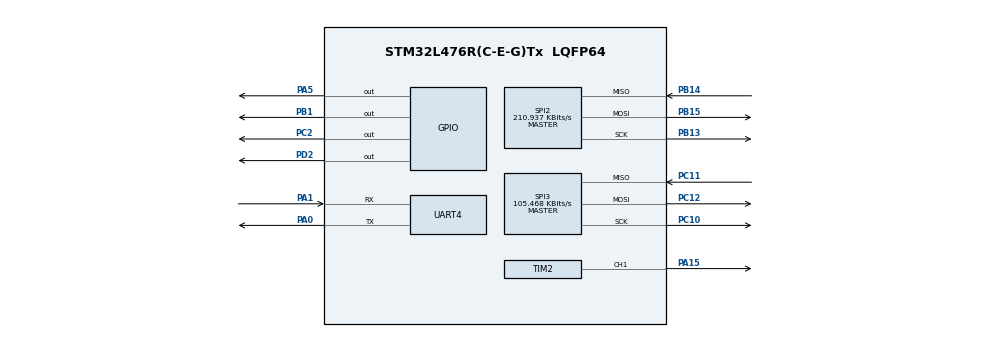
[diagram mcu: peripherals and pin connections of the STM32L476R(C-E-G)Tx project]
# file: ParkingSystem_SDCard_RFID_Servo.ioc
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Mcu.Family=STM32L4
Mcu.Name=STM32L476R(C-E-G)Tx
Mcu.Package=LQFP64
NVIC.PriorityGroup=NVIC_PRIORITYGROUP_4
NVIC.TIM2_IRQn=true\:0\:0\:false\:false\:true\:true\:true\:true
PA0.Mode=Asynchronous
PA0.Signal=UART4_TX
PA1.Mode=Asynchronous
PA1.Signal=UART4_RX
PA15\ (JTDI).Signal=S_TIM2_CH1
PA5.GPIO_ModeDefaultOutputPP=GPIO_MODE_OUTPUT_PP
PA5.GPIO_PuPd=GPIO_NOPULL
PA5.GPIO_Speed=GPIO_SPEED_FREQ_VERY_HIGH
PA5.Signal=GPIO_Output
PB1.GPIO_Speed=GPIO_SPEED_FREQ_VERY_HIGH
PB1.PinState=GPIO_PIN_SET
PB1.Signal=GPIO_Output
PB13.Mode=Full_Duplex_Master
PB13.Signal=SPI2_SCK
PB14.Mode=Full_Duplex_Master
PB14.Signal=SPI2_MISO
PB15.Mode=Full_Duplex_Master
PB15.Signal=SPI2_MOSI
PC10.Mode=Full_Duplex_Master
PC10.Signal=SPI3_SCK
PC11.Mode=Full_Duplex_Master
PC11.Signal=SPI3_MISO
PC12.Mode=Full_Duplex_Master
PC12.Signal=SPI3_MOSI
PC14-OSC32_IN\ (PC14).Mode=LSE-External-Oscillator
PC14-OSC32_IN\ (PC14).Signal=RCC_OSC32_IN
PC15-OSC32_OUT\ (PC15).Mode=LSE-External-Oscillator
PC15-OSC32_OUT\ (PC15).Signal=RCC_OSC32_OUT
PC2.GPIO_Speed=GPIO_SPEED_FREQ_VERY_HIGH
PC2.Signal=GPIO_Output
PD2.GPIO_Speed=GPIO_SPEED_FREQ_VERY_HIGH
PD2.PinState=GPIO_PIN_SET
PD2.Signal=GPIO_Output
PH0-OSC_IN\ (PH0).Signal=RCC_OSC_IN
PH1-OSC_OUT\ (PH1).Signal=RCC_OSC_OUT
ProjectManager.HeapSize=0x200
ProjectManager.StackSize=0x400
ProjectManager.TargetToolchain=MDK-ARM V5.32
RCC.ADCFreq_Value=16000000
RCC.AHBCLKDivider=RCC_SYSCLK_DIV2
RCC.AHBFreq_Value=27000000
RCC.APB1Freq_Value=27000000
RCC.APB1TimFreq_Value=27000000
RCC.APB2Freq_Value=27000000
RCC.APB2TimFreq_Value=27000000
RCC.CortexFreq_Value=27000000
RCC.HCLKFreq_Value=27000000
RCC.HSE_VALUE=8000000
RCC.HSI_VALUE=16000000
RCC.MSI_VALUE=4000000
RCC.PLLN=27
RCC.PREFETCH_ENABLE=1
RCC.SYSCLKFreq_VALUE=54000000
RCC.SYSCLKSource=RCC_SYSCLKSOURCE_PLLCLK
RCC.USBFreq_Value=16000000
RCC.VCOOutputFreq_Value=108000000
SH.S_TIM2_CH1.0=TIM2_CH1,PWM Generation1 CH1
SPI2.BaudRatePrescaler=SPI_BAUDRATEPRESCALER_128
SPI2.CalculateBaudRate=210.937 KBits/s
SPI2.DataSize=SPI_DATASIZE_8BIT
SPI2.Direction=SPI_DIRECTION_2LINES
SPI2.Mode=SPI_MODE_MASTER
SPI2.VirtualType=VM_MASTER
SPI3.BaudRatePrescaler=SPI_BAUDRATEPRESCALER_256
SPI3.CalculateBaudRate=105.468 KBits/s
SPI3.DataSize=SPI_DATASIZE_8BIT
SPI3.Direction=SPI_DIRECTION_2LINES
SPI3.Mode=SPI_MODE_MASTER
SPI3.VirtualType=VM_MASTER
TIM1.Prescaler=26
TIM2.Channel-PWM\ Generation1\ CH1=TIM_CHANNEL_1
TIM2.Period=9999
TIM2.Prescaler=26
TIM2.Pulse-PWM\ Generation1\ CH1=500
VP_FATFS_VS_Generic.Mode=User_defined
VP_TIM1_VS_ClockSourceINT.Mode=Internal
board=NUCLEO-L476RG

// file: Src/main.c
/* USER CODE BEGIN Header */
/**
  ******************************************************************************
  * @file           : main.c
  * @brief          : Main program body
  ******************************************************************************
  * @attention
  *
  * Copyright (c) 2024 STMicroelectronics.
  * All rights reserved.
  *
  * This software is licensed under terms that can be found in the LICENSE file
  * in the root directory of this software component.
  * If no LICENSE file comes with this software, it is provided AS-IS.
  *
  ******************************************************************************
  */
/* USER CODE END Header */
#include "main.h"
#include "fatfs.h"

/* USER CODE BEGIN Includes */
#include <stdbool.h>
#include <stdio.h>
#include <string.h>
#include <stdarg.h>
#include "rc522.h"
/* USER CODE END Includes */

/* USER CODE BEGIN PV */
uint8_t status;
uint8_t str[MAX_LEN]; // Max_LEN = 16
uint8_t sNum[5];
/* USER CODE END PV */

void SystemClock_Config(void);
static void MX_GPIO_Init(void);
static void MX_SPI2_Init(void);
static void MX_SPI3_Init(void);
static void MX_TIM1_Init(void);
static void MX_TIM2_Init(void);
static void MX_UART4_Init(void);
/* USER CODE BEGIN PFP */
void read_sdCard(void);
/* USER CODE END PFP */

/* USER CODE BEGIN 0 */
typedef struct Node {
    uint8_t UID[32];
    char bsx[32];
    struct Node* next;
} Node;

// Head of the linked list
Node* head = NULL;

// Function to create a new node and add it to the linked list
void addNode(const uint8_t* UID, const char* bsx) {
    if (UID == NULL || bsx == NULL) {
        myprintf("Invalid input: UID or bsx is NULL\r\n");
        return;
    }

		Node* newNode = (Node*)malloc(sizeof(Node));
    if (newNode == NULL) {
        myprintf("Memory allocation failed!\r\n");
        return;
    }

		memcpy(newNode->UID, UID, 5); // Copy exactly 5 bytes
    //newNode->UID[5] = '\0';       // Ensure null termination for safe printing
    strncpy(newNode->bsx, bsx, sizeof(newNode->bsx) - 1);
    newNode->bsx[sizeof(newNode->bsx) - 1] = '\0';

    newNode->next = head;
    head = newNode;
}

/*
void freeList() {
    Node* current = head;
    while (current != NULL) {
        Node* temp = current;
        current = current->next;
        free(temp);
    }
    head = NULL;
    myprintf("Linked list freed.\r\n");
}
*/
bool searchLinkedList(const uint8_t* UID, char* bsx) {
    Node* cur = head;
    while (cur != NULL) {
        if (memcmp(cur->UID, UID, 5) == 0) { // Compare exactly 5 bytes
            strcpy(bsx, cur->bsx);          // Copy the corresponding BSX
            return true;
        }
        cur = cur->next;
    }
    return false;
}

FATFS FatFs; 	//Fatfs handle
FIL fil; 		//File handle
FRESULT fres; //Result after operations

DWORD free_clusters, free_sectors, total_sectors;
FATFS* getFreeFs;

char lineBuffer[128];
/* USER CODE END 0 */

int main(void)
{

  /* MCU Configuration--------------------------------------------------------*/

  /* Reset of all peripherals, Initializes the Flash interface and the Systick. */
  HAL_Init();

  /* USER CODE BEGIN Init */
	//freeList();
  /* USER CODE END Init */

  /* Configure the system clock */
  SystemClock_Config();

  /* Initialize all configured peripherals */
  MX_GPIO_Init();
  MX_SPI2_Init();
  MX_SPI3_Init();
  MX_TIM1_Init();
  MX_TIM2_Init();
  MX_UART4_Init();
  MX_FATFS_Init();
  /* USER CODE BEGIN 2 */
	MFRC522_Init();
	read_sdCard();
	LL_TIM_EnableCounter(TIM2);
  LL_TIM_EnableIT_UPDATE(TIM2);
  /* USER CODE END 2 */

  /* Infinite loop */
  while (1)
  {
		delay_ms(1000);
		status = MFRC522_Request(PICC_REQIDL, str);
		if (status != MI_OK)
		{
			continue;
		}
		delay_ms(1);
		status = MFRC522_Anticoll(str);
		if (status != MI_OK)
		{
			continue;
		}
		delay_ms(1);

		memcpy(sNum, str, 5);
		myprintf("SerialNumber: ");
		for (int i = 0; i < 5; i++)
		{
			myprintf("%d ", sNum[i]); // UID
		}
		myprintf("\n");
		char bsx[32] = {0};
		if (searchLinkedList(sNum, bsx) == true)
		{
			myprintf("Found BSX: %s\n", bsx);
			flag_servo = 1;
			myprintf("Opening barier\n");
		}
		else
		{
			myprintf("UID not found in linked list.\n");
		}
		delay_ms(5000);
		myprintf("Closing barier\n");
  }
}

void SystemClock_Config(void)
{
  LL_FLASH_SetLatency(LL_FLASH_LATENCY_1);
  while(LL_FLASH_GetLatency()!= LL_FLASH_LATENCY_1)
  {
  }
  LL_PWR_SetRegulVoltageScaling(LL_PWR_REGU_VOLTAGE_SCALE1);
  while (LL_PWR_IsActiveFlag_VOS() != 0)
  {
  }
  LL_RCC_MSI_Enable();

   /* Wait till MSI is ready */
  while(LL_RCC_MSI_IsReady() != 1)
  {

  }
  LL_RCC_MSI_EnableRangeSelection();
  LL_RCC_MSI_SetRange(LL_RCC_MSIRANGE_6);
  LL_RCC_MSI_SetCalibTrimming(0);
  LL_PWR_EnableBkUpAccess();
  LL_RCC_LSE_SetDriveCapability(LL_RCC_LSEDRIVE_LOW);
  LL_RCC_LSE_Enable();

   /* Wait till LSE is ready */
  while(LL_RCC_LSE_IsReady() != 1)
  {

  }
  LL_RCC_MSI_EnablePLLMode();
  LL_RCC_PLL_ConfigDomain_SYS(LL_RCC_PLLSOURCE_MSI, LL_RCC_PLLM_DIV_1, 27, LL_RCC_PLLR_DIV_2);
  LL_RCC_PLL_EnableDomain_SYS();
  LL_RCC_PLL_Enable();

   /* Wait till PLL is ready */
  while(LL_RCC_PLL_IsReady() != 1)
  {

  }
  LL_RCC_SetSysClkSource(LL_RCC_SYS_CLKSOURCE_PLL);

   /* Wait till System clock is ready */
  while(LL_RCC_GetSysClkSource() != LL_RCC_SYS_CLKSOURCE_STATUS_PLL)
  {

  }
  LL_RCC_SetAHBPrescaler(LL_RCC_SYSCLK_DIV_2);
  LL_RCC_SetAPB1Prescaler(LL_RCC_APB1_DIV_1);
  LL_RCC_SetAPB2Prescaler(LL_RCC_APB2_DIV_1);
  LL_SetSystemCoreClock(27000000);

   /* Update the time base */
  if (HAL_InitTick (TICK_INT_PRIORITY) != HAL_OK)
  {
    Error_Handler();
  }
}

static void MX_SPI2_Init(void)
{

  LL_SPI_InitTypeDef SPI_InitStruct = {0};

  LL_GPIO_InitTypeDef GPIO_InitStruct = {0};

  /* Peripheral clock enable */
  LL_APB1_GRP1_EnableClock(LL_APB1_GRP1_PERIPH_SPI2);

  LL_AHB2_GRP1_EnableClock(LL_AHB2_GRP1_PERIPH_GPIOB);
  /**SPI2 GPIO Configuration
  PB13   ------> SPI2_SCK
  PB14   ------> SPI2_MISO
  PB15   ------> SPI2_MOSI
  */
  GPIO_InitStruct.Pin = LL_GPIO_PIN_13|LL_GPIO_PIN_14|LL_GPIO_PIN_15;
  GPIO_InitStruct.Mode = LL_GPIO_MODE_ALTERNATE;
  GPIO_InitStruct.Speed = LL_GPIO_SPEED_FREQ_VERY_HIGH;
  GPIO_InitStruct.OutputType = LL_GPIO_OUTPUT_PUSHPULL;
  GPIO_InitStruct.Pull = LL_GPIO_PULL_NO;
  GPIO_InitStruct.Alternate = LL_GPIO_AF_5;
  LL_GPIO_Init(GPIOB, &GPIO_InitStruct);

  /* SPI2 parameter configuration*/
  SPI_InitStruct.TransferDirection = LL_SPI_FULL_DUPLEX;
  SPI_InitStruct.Mode = LL_SPI_MODE_MASTER;
  SPI_InitStruct.DataWidth = LL_SPI_DATAWIDTH_8BIT;
  SPI_InitStruct.ClockPolarity = LL_SPI_POLARITY_LOW;
  SPI_InitStruct.ClockPhase = LL_SPI_PHASE_1EDGE;
  SPI_InitStruct.NSS = LL_SPI_NSS_SOFT;
  SPI_InitStruct.BaudRate = LL_SPI_BAUDRATEPRESCALER_DIV128;
  SPI_InitStruct.BitOrder = LL_SPI_MSB_FIRST;
  SPI_InitStruct.CRCCalculation = LL_SPI_CRCCALCULATION_DISABLE;
  SPI_InitStruct.CRCPoly = 7;
  LL_SPI_Init(SPI2, &SPI_InitStruct);
  LL_SPI_SetStandard(SPI2, LL_SPI_PROTOCOL_MOTOROLA);
  LL_SPI_EnableNSSPulseMgt(SPI2);
  /* USER CODE BEGIN SPI2_Init 2 */
	LL_SPI_Enable(SPI2);
  /* USER CODE END SPI2_Init 2 */

}

static void MX_SPI3_Init(void)
{

  LL_SPI_InitTypeDef SPI_InitStruct = {0};

  LL_GPIO_InitTypeDef GPIO_InitStruct = {0};

  /* Peripheral clock enable */
  LL_APB1_GRP1_EnableClock(LL_APB1_GRP1_PERIPH_SPI3);

  LL_AHB2_GRP1_EnableClock(LL_AHB2_GRP1_PERIPH_GPIOC);
  /**SPI3 GPIO Configuration
  PC10   ------> SPI3_SCK
  PC11   ------> SPI3_MISO
  PC12   ------> SPI3_MOSI
  */
  GPIO_InitStruct.Pin = LL_GPIO_PIN_10|LL_GPIO_PIN_11|LL_GPIO_PIN_12;
  GPIO_InitStruct.Mode = LL_GPIO_MODE_ALTERNATE;
  GPIO_InitStruct.Speed = LL_GPIO_SPEED_FREQ_VERY_HIGH;
  GPIO_InitStruct.OutputType = LL_GPIO_OUTPUT_PUSHPULL;
  GPIO_InitStruct.Pull = LL_GPIO_PULL_NO;
  GPIO_InitStruct.Alternate = LL_GPIO_AF_6;
  LL_GPIO_Init(GPIOC, &GPIO_InitStruct);

  /* SPI3 parameter configuration*/
  SPI_InitStruct.TransferDirection = LL_SPI_FULL_DUPLEX;
  SPI_InitStruct.Mode = LL_SPI_MODE_MASTER;
  SPI_InitStruct.DataWidth = LL_SPI_DATAWIDTH_8BIT;
  SPI_InitStruct.ClockPolarity = LL_SPI_POLARITY_LOW;
  SPI_InitStruct.ClockPhase = LL_SPI_PHASE_1EDGE;
  SPI_InitStruct.NSS = LL_SPI_NSS_SOFT;
  SPI_InitStruct.BaudRate = LL_SPI_BAUDRATEPRESCALER_DIV256;
  SPI_InitStruct.BitOrder = LL_SPI_MSB_FIRST;
  SPI_InitStruct.CRCCalculation = LL_SPI_CRCCALCULATION_DISABLE;
  SPI_InitStruct.CRCPoly = 7;
  LL_SPI_Init(SPI3, &SPI_InitStruct);
  LL_SPI_SetStandard(SPI3, LL_SPI_PROTOCOL_MOTOROLA);
  LL_SPI_EnableNSSPulseMgt(SPI3);
  /* USER CODE BEGIN SPI3_Init 2 */
	LL_SPI_Enable(SPI3);
  /* USER CODE END SPI3_Init 2 */

}

static void MX_TIM1_Init(void)
{

  LL_TIM_InitTypeDef TIM_InitStruct = {0};

  /* Peripheral clock enable */
  LL_APB2_GRP1_EnableClock(LL_APB2_GRP1_PERIPH_TIM1);

  TIM_InitStruct.Prescaler = 26;
  TIM_InitStruct.CounterMode = LL_TIM_COUNTERMODE_UP;
  TIM_InitStruct.Autoreload = 65535;
  TIM_InitStruct.ClockDivision = LL_TIM_CLOCKDIVISION_DIV1;
  TIM_InitStruct.RepetitionCounter = 0;
  LL_TIM_Init(TIM1, &TIM_InitStruct);
  LL_TIM_DisableARRPreload(TIM1);
  LL_TIM_SetClockSource(TIM1, LL_TIM_CLOCKSOURCE_INTERNAL);
  LL_TIM_SetTriggerOutput(TIM1, LL_TIM_TRGO_RESET);
  LL_TIM_SetTriggerOutput2(TIM1, LL_TIM_TRGO2_RESET);
  LL_TIM_DisableMasterSlaveMode(TIM1);
  /* USER CODE BEGIN TIM1_Init 2 */
	LL_TIM_EnableCounter(TIM1);
  /* USER CODE END TIM1_Init 2 */

}

static void MX_TIM2_Init(void)
{

  LL_TIM_InitTypeDef TIM_InitStruct = {0};
  LL_TIM_OC_InitTypeDef TIM_OC_InitStruct = {0};

  LL_GPIO_InitTypeDef GPIO_InitStruct = {0};

  /* Peripheral clock enable */
  LL_APB1_GRP1_EnableClock(LL_APB1_GRP1_PERIPH_TIM2);

  /* TIM2 interrupt Init */
  NVIC_SetPriority(TIM2_IRQn, NVIC_EncodePriority(NVIC_GetPriorityGrouping(),0, 0));
  NVIC_EnableIRQ(TIM2_IRQn);

  TIM_InitStruct.Prescaler = 26;
  TIM_InitStruct.CounterMode = LL_TIM_COUNTERMODE_UP;
  TIM_InitStruct.Autoreload = 9999;
  TIM_InitStruct.ClockDivision = LL_TIM_CLOCKDIVISION_DIV1;
  LL_TIM_Init(TIM2, &TIM_InitStruct);
  LL_TIM_DisableARRPreload(TIM2);
  LL_TIM_OC_EnablePreload(TIM2, LL_TIM_CHANNEL_CH1);
  TIM_OC_InitStruct.OCMode = LL_TIM_OCMODE_PWM1;
  TIM_OC_InitStruct.OCState = LL_TIM_OCSTATE_DISABLE;
  TIM_OC_InitStruct.OCNState = LL_TIM_OCSTATE_DISABLE;
  TIM_OC_InitStruct.CompareValue = 500;
  TIM_OC_InitStruct.OCPolarity = LL_TIM_OCPOLARITY_HIGH;
  LL_TIM_OC_Init(TIM2, LL_TIM_CHANNEL_CH1, &TIM_OC_InitStruct);
  LL_TIM_OC_DisableFast(TIM2, LL_TIM_CHANNEL_CH1);
  LL_TIM_SetOCRefClearInputSource(TIM2, LL_TIM_OCREF_CLR_INT_NC);
  LL_TIM_DisableExternalClock(TIM2);
  LL_TIM_ConfigETR(TIM2, LL_TIM_ETR_POLARITY_NONINVERTED, LL_TIM_ETR_PRESCALER_DIV1, LL_TIM_ETR_FILTER_FDIV1);
  LL_TIM_SetTriggerOutput(TIM2, LL_TIM_TRGO_RESET);
  LL_TIM_DisableMasterSlaveMode(TIM2);
  /* USER CODE BEGIN TIM2_Init 2 */
	LL_TIM_EnableCounter(TIM2);
  LL_TIM_CC_EnableChannel(TIM2, LL_TIM_CHANNEL_CH1);
  LL_TIM_GenerateEvent_UPDATE(TIM2);
  /* USER CODE END TIM2_Init 2 */
  LL_AHB2_GRP1_EnableClock(LL_AHB2_GRP1_PERIPH_GPIOA);
  /**TIM2 GPIO Configuration
  PA15 (JTDI)   ------> TIM2_CH1
  */
  GPIO_InitStruct.Pin = LL_GPIO_PIN_15;
  GPIO_InitStruct.Mode = LL_GPIO_MODE_ALTERNATE;
  GPIO_InitStruct.Speed = LL_GPIO_SPEED_FREQ_LOW;
  GPIO_InitStruct.OutputType = LL_GPIO_OUTPUT_PUSHPULL;
  GPIO_InitStruct.Pull = LL_GPIO_PULL_NO;
  GPIO_InitStruct.Alternate = LL_GPIO_AF_1;
  LL_GPIO_Init(GPIOA, &GPIO_InitStruct);

}

static void MX_UART4_Init(void)
{

  LL_USART_InitTypeDef UART_InitStruct = {0};

  LL_GPIO_InitTypeDef GPIO_InitStruct = {0};

  LL_RCC_SetUARTClockSource(LL_RCC_UART4_CLKSOURCE_PCLK1);

  /* Peripheral clock enable */
  LL_APB1_GRP1_EnableClock(LL_APB1_GRP1_PERIPH_UART4);

  LL_AHB2_GRP1_EnableClock(LL_AHB2_GRP1_PERIPH_GPIOA);
  /**UART4 GPIO Configuration
  PA0   ------> UART4_TX
  PA1   ------> UART4_RX
  */
  GPIO_InitStruct.Pin = LL_GPIO_PIN_0|LL_GPIO_PIN_1;
  GPIO_InitStruct.Mode = LL_GPIO_MODE_ALTERNATE;
  GPIO_InitStruct.Speed = LL_GPIO_SPEED_FREQ_VERY_HIGH;
  GPIO_InitStruct.OutputType = LL_GPIO_OUTPUT_PUSHPULL;
  GPIO_InitStruct.Pull = LL_GPIO_PULL_NO;
  GPIO_InitStruct.Alternate = LL_GPIO_AF_8;
  LL_GPIO_Init(GPIOA, &GPIO_InitStruct);

  UART_InitStruct.BaudRate = 115200;
  UART_InitStruct.DataWidth = LL_USART_DATAWIDTH_8B;
  UART_InitStruct.StopBits = LL_USART_STOPBITS_1;
  UART_InitStruct.Parity = LL_USART_PARITY_NONE;
  UART_InitStruct.TransferDirection = LL_USART_DIRECTION_TX_RX;
  UART_InitStruct.HardwareFlowControl = LL_USART_HWCONTROL_NONE;
  UART_InitStruct.OverSampling = LL_USART_OVERSAMPLING_16;
  LL_USART_Init(UART4, &UART_InitStruct);
  LL_USART_ConfigAsyncMode(UART4);
  LL_USART_Enable(UART4);

}

static void MX_GPIO_Init(void)
{
  LL_GPIO_InitTypeDef GPIO_InitStruct = {0};

  /* GPIO Ports Clock Enable */
  LL_AHB2_GRP1_EnableClock(LL_AHB2_GRP1_PERIPH_GPIOC);
  LL_AHB2_GRP1_EnableClock(LL_AHB2_GRP1_PERIPH_GPIOH);
  LL_AHB2_GRP1_EnableClock(LL_AHB2_GRP1_PERIPH_GPIOA);
  LL_AHB2_GRP1_EnableClock(LL_AHB2_GRP1_PERIPH_GPIOB);
  LL_AHB2_GRP1_EnableClock(LL_AHB2_GRP1_PERIPH_GPIOD);

  /**/
  LL_GPIO_ResetOutputPin(GPIOC, LL_GPIO_PIN_2);

  /**/
  LL_GPIO_ResetOutputPin(GPIOA, LL_GPIO_PIN_5);

  /**/
  LL_GPIO_SetOutputPin(GPIOB, LL_GPIO_PIN_1);

  /**/
  LL_GPIO_SetOutputPin(GPIOD, LL_GPIO_PIN_2);

  /**/
  GPIO_InitStruct.Pin = LL_GPIO_PIN_2;
  GPIO_InitStruct.Mode = LL_GPIO_MODE_OUTPUT;
  GPIO_InitStruct.Speed = LL_GPIO_SPEED_FREQ_VERY_HIGH;
  GPIO_InitStruct.OutputType = LL_GPIO_OUTPUT_PUSHPULL;
  GPIO_InitStruct.Pull = LL_GPIO_PULL_NO;
  LL_GPIO_Init(GPIOC, &GPIO_InitStruct);

  /**/
  GPIO_InitStruct.Pin = LL_GPIO_PIN_5;
  GPIO_InitStruct.Mode = LL_GPIO_MODE_OUTPUT;
  GPIO_InitStruct.Speed = LL_GPIO_SPEED_FREQ_VERY_HIGH;
  GPIO_InitStruct.OutputType = LL_GPIO_OUTPUT_PUSHPULL;
  GPIO_InitStruct.Pull = LL_GPIO_PULL_NO;
  LL_GPIO_Init(GPIOA, &GPIO_InitStruct);

  /**/
  GPIO_InitStruct.Pin = LL_GPIO_PIN_1;
  GPIO_InitStruct.Mode = LL_GPIO_MODE_OUTPUT;
  GPIO_InitStruct.Speed = LL_GPIO_SPEED_FREQ_VERY_HIGH;
  GPIO_InitStruct.OutputType = LL_GPIO_OUTPUT_PUSHPULL;
  GPIO_InitStruct.Pull = LL_GPIO_PULL_NO;
  LL_GPIO_Init(GPIOB, &GPIO_InitStruct);

  /**/
  GPIO_InitStruct.Pin = LL_GPIO_PIN_2;
  GPIO_InitStruct.Mode = LL_GPIO_MODE_OUTPUT;
  GPIO_InitStruct.Speed = LL_GPIO_SPEED_FREQ_VERY_HIGH;
  GPIO_InitStruct.OutputType = LL_GPIO_OUTPUT_PUSHPULL;
  GPIO_InitStruct.Pull = LL_GPIO_PULL_NO;
  LL_GPIO_Init(GPIOD, &GPIO_InitStruct);

}

/* USER CODE BEGIN 4 */
void delay_ms(uint32_t ms) {
    // Calculate how many full overflows and remaining ticks are needed
    uint32_t full_overflows = ms / 65; // Number of full 65 ms periods
    uint32_t remaining_ticks = (ms % 65) * 1000; // Remaining ticks in ?s

    // Reset the counter and ensure timer is running
    LL_TIM_SetCounter(TIM1, 0);
    LL_TIM_EnableCounter(TIM1);

    // Handle full overflows
    for (uint32_t i = 0; i < full_overflows; i++) {
        while (LL_TIM_GetCounter(TIM1) < 65535); // Wait for one full overflow
        LL_TIM_SetCounter(TIM1, 0); // Reset counter
    }

    // Handle remaining ticks
    if (remaining_ticks > 0) {
        LL_TIM_SetCounter(TIM1, 0);
        while (LL_TIM_GetCounter(TIM1) < remaining_ticks);
    }

    // Optionally stop the timer (if it doesn't need to run continuously)
    LL_TIM_DisableCounter(TIM1);
}

/* Gui 1 byte du lieu tu Master cho Slave */
void SPI2_TransmitByte(uint8_t data)
{
    // Doi cho den khi TX buffer trong (TXE flag duoc set)
    while (!LL_SPI_IsActiveFlag_TXE(SPI2));

    // Gui 1 byte du lieu
    LL_SPI_TransmitData8(SPI2, data);

    // Doi cho den khi byte duoc truyen xong (BSY flag duoc reset)
    while (LL_SPI_IsActiveFlag_BSY(SPI2));
}

uint8_t SPI2_ReceiveByte(void)
{
    uint8_t receivedDataTemp = 0x00u;

    // Doi cho den khi co du lieu nhan duoc (RXNE flag duoc set)
    while (!LL_SPI_IsActiveFlag_RXNE(SPI2));

    // Doc du lieu nhan duoc tu SPI
    receivedDataTemp = LL_SPI_ReceiveData8(SPI2);

		while (LL_SPI_IsActiveFlag_BSY(SPI2));

		return receivedDataTemp;
}

void SPI3_TransmitByte(uint8_t data)
{
    // Doi cho den khi TX buffer trong (TXE flag duoc set)
    while (!LL_SPI_IsActiveFlag_TXE(SPI3));

    // Gui 1 byte du lieu
    LL_SPI_TransmitData8(SPI3, data);

    // Doi cho den khi byte duoc truyen xong (BSY flag duoc reset)
    while (LL_SPI_IsActiveFlag_BSY(SPI3));
}

uint8_t SPI3_ReceiveByte(void)
{
    uint8_t receivedDataTemp = 0x00u;

    // Doi cho den khi co du lieu nhan duoc (RXNE flag duoc set)
    while (!LL_SPI_IsActiveFlag_RXNE(SPI3));

    // Doc du lieu nhan duoc tu SPI
    receivedDataTemp = LL_SPI_ReceiveData8(SPI3);

		while (LL_SPI_IsActiveFlag_BSY(SPI3));
		return receivedDataTemp;
}

// Send 1 byte through UART
void UART_SendChar(uint8_t ch)
{
    while (!LL_USART_IsActiveFlag_TXE(UART4));
    LL_USART_TransmitData8(UART4, ch);
    while (!LL_USART_IsActiveFlag_TC(UART4));
}

// Receive 1 byte from UART
uint8_t UART_ReceiveChar(void)
{
    while (!LL_USART_IsActiveFlag_RXNE(UART4));
    return LL_USART_ReceiveData8(UART4);
}

// Send a string through UART
void UART_SendString(char *str)
{
    while (*str) {
        UART_SendChar(*str++);
    }
}

// Receive a string from UART (stop when see character '\n')
void UART_ReceiveString(char *buffer, uint8_t maxLength)
{
    uint8_t index = 0;
    char receivedChar;

    do {
        receivedChar = UART_ReceiveChar();
        buffer[index++] = receivedChar;
    } while (receivedChar != '\n' && index < maxLength - 1);

    buffer[index] = '\0';
}

void myprintf(const char *fmt, ...)
{
  static char buffer[256];
  va_list args;
  va_start(args, fmt);
  vsnprintf(buffer, sizeof(buffer), fmt, args);
  va_end(args);

  int len = strlen(buffer);
  //HAL_UART_Transmit(&huart2, (uint8_t*)buffer, len, -1);
	UART_SendString((char *)buffer);
}

//void read_sdCard(void)
//{
//	myprintf("\r\n~ Reading data from SD Card ~\r\n\r\n");
//	delay_ms(1000);
//
//	//Open the file system
//  fres = f_mount(&FatFs, "/", 1); //1=mount now
//  if (fres != FR_OK)
//	{
//		myprintf("f_mount error (%i)\r\n", fres);
//		while(1);
//  }
//
//  fres = f_getfree("", &free_clusters, &getFreeFs);
//  if (fres != FR_OK)
//	{
//		myprintf("f_getfree error (%i)\r\n", fres);
//		while(1);
//  }

//  //Formula comes from ChaN's documentation
//  total_sectors = (getFreeFs->n_fatent - 2) * getFreeFs->csize;
//  free_sectors = free_clusters * getFreeFs->csize;

//  myprintf("SD card stats:\r\n%10lu KiB total drive space.\r\n%10lu KiB available.\r\n", total_sectors / 2, free_sectors / 2);
//
//  //Now let's try to open file "data.csv"
//  fres = f_open(&fil, "data.csv", FA_READ);
//  if (fres != FR_OK)
//	{
//		myprintf("f_open error (%i)\r\n", fres);
//		while(1);
//  }
//  myprintf("Opened 'data.csv' successfully!\r\n");

//  //char lineBuffer[128];
//	while (f_gets(lineBuffer, sizeof(lineBuffer), &fil))
//	{
//		myprintf("Read line: %s\r\n", lineBuffer);

//		// Parse the line to extract UID and bsx
//		char UID_temp[32] = {0};
//		char bsx_temp[32] = {0};
//    int parsed = sscanf(lineBuffer, "%31[^,],%31s", UID_temp, bsx_temp);
//		if (parsed == 2)
//		{
//			uint8_t UID[5] = {0};
//			int success = sscanf(UID_temp, "%hhu %hhu %hhu %hhu %hhu", &UID[0], &UID[1], &UID[2], &UID[3], &UID[4]);
//			if (success == 5) {
//            addNode(UID, bsx_temp);  // Thêm vào linked list
//        } else {
//            myprintf("Failed to convert UID: %s\r\n", UID_temp);
//        }
//		}
//		else
//		{
//			myprintf("Failed to parse line: %s\r\n", lineBuffer);
//		}
//	}

//  //Close file!
//  f_close(&fil);
//
//	f_mount(NULL, "/", 0);
//
//	myprintf("Read SD Card done!\r\n");
//
//	// Print the linked list contents
//  myprintf("Linked list contents:\r\n");
//	/*
//  Node* current = head;
//  while (current != NULL)
//	{
//    myprintf("UID: %s, bsx: %s\r\n", current->UID, current->bsx);
//    current = current->next;
//  }
//	*/
//	Node* cur = head;
//	while (cur != NULL)
//	{
//		myprintf("UID: ");
//		for (int i = 0; i < 5; i++)
//		{
//				myprintf("%d ", cur->UID[i]);
//		}
//		myprintf(" BSX: %s\n", cur->bsx);
//		cur = cur->next;
//	}
//}

void read_sdCard(void) {
    myprintf("\r\n~ Reading data from SD Card ~\r\n");
    delay_ms(1000);

    // Mount file system
    if (f_mount(&FatFs, "/", 1) != FR_OK) {
        myprintf("Failed to mount file system\r\n");
        return;
    }

    // Open the CSV file
    if (f_open(&fil, "data.csv", FA_READ) != FR_OK) {
        myprintf("Failed to open 'data.csv'\r\n");
        f_mount(NULL, "/", 0);
        return;
    }
    myprintf("Opened 'data.csv' successfully!\r\n");

    // Read and parse lines from the file
    char lineBuffer[128];
    while (f_gets(lineBuffer, sizeof(lineBuffer), &fil)) {
        char UID_temp[32] = {0}, bsx_temp[32] = {0};
        if (sscanf(lineBuffer, "%31[^,],%31s", UID_temp, bsx_temp) == 2) {
            uint8_t UID[5];
            if (sscanf(UID_temp, "%hhu %hhu %hhu %hhu %hhu", &UID[0], &UID[1], &UID[2], &UID[3], &UID[4]) == 5) {
                addNode(UID, bsx_temp);
            } else {
                myprintf("Invalid UID format: %s\r\n", UID_temp);
            }
        } else {
            myprintf("Failed to parse line: %s\r\n", lineBuffer);
        }
    }

    // Close file and unmount file system
    f_close(&fil);
    f_mount(NULL, "/", 0);

    // Print the linked list contents
    myprintf("Linked list contents:\r\n");
    for (Node* cur = head; cur != NULL; cur = cur->next) {
        myprintf("UID: %d %d %d %d %d BSX: %s\r\n", cur->UID[0], cur->UID[1], cur->UID[2], cur->UID[3], cur->UID[4], cur->bsx);
    }

    myprintf("Read SD Card done!\r\n");
}
/* USER CODE END 4 */

void Error_Handler(void)
{
  __disable_irq();
  while (1)
  {
  }
}
